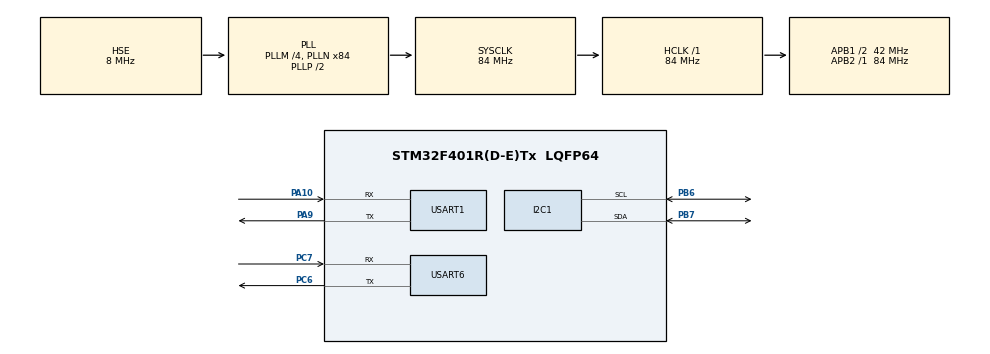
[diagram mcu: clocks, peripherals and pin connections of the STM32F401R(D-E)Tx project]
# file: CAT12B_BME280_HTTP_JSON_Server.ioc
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Mcu.Family=STM32F4
Mcu.Name=STM32F401R(D-E)Tx
Mcu.Package=LQFP64
NVIC.PriorityGroup=NVIC_PRIORITYGROUP_4
NVIC.USART1_IRQn=true\:0\:0\:false\:false\:true\:true\:true\:true
PA10.Mode=Asynchronous
PA10.Signal=USART1_RX
PA13.Mode=Serial_Wire
PA13.Signal=SYS_JTMS-SWDIO
PA14.Mode=Serial_Wire
PA14.Signal=SYS_JTCK-SWCLK
PA9.Mode=Asynchronous
PA9.Signal=USART1_TX
PB6.Mode=I2C
PB6.Signal=I2C1_SCL
PB7.Mode=I2C
PB7.Signal=I2C1_SDA
PC6.Mode=Asynchronous
PC6.Signal=USART6_TX
PC7.Mode=Asynchronous
PC7.Signal=USART6_RX
PH0\ -\ OSC_IN.Mode=HSE-External-Clock-Source
PH0\ -\ OSC_IN.Signal=RCC_OSC_IN
PH1\ -\ OSC_OUT.Mode=HSE-External-Clock-Source
PH1\ -\ OSC_OUT.Signal=RCC_OSC_OUT
ProjectManager.HeapSize=0x200
ProjectManager.StackSize=0x400
ProjectManager.TargetToolchain=STM32CubeIDE
RCC.48MHZClocksFreq_Value=42000000
RCC.AHBFreq_Value=84000000
RCC.APB1CLKDivider=RCC_HCLK_DIV2
RCC.APB1Freq_Value=42000000
RCC.APB1TimFreq_Value=84000000
RCC.APB2Freq_Value=84000000
RCC.APB2TimFreq_Value=84000000
RCC.CortexFreq_Value=84000000
RCC.HCLKFreq_Value=84000000
RCC.HSE_VALUE=8000000
RCC.HSI_VALUE=16000000
RCC.LSE_VALUE=32768
RCC.PLLM=4
RCC.PLLN=84
RCC.PLLSourceVirtual=RCC_PLLSOURCE_HSE
RCC.SYSCLKFreq_VALUE=84000000
RCC.SYSCLKSource=RCC_SYSCLKSOURCE_PLLCLK
RCC.VCOOutputFreq_Value=168000000
USART1.VirtualMode=VM_ASYNC
USART6.VirtualMode=VM_ASYNC
board=custom

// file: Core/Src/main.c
/* USER CODE BEGIN Header */
/**
  ******************************************************************************
  * @file           : main.c
  * @brief          : CAT 12 - Raw HTTP response with BME280 data (JSON)
  *                    STM32 builds {"status","temperature","humidity","pressure"} and serves it through the ESP8266.
  ******************************************************************************
  * @attention
  *
  * Copyright (c) 2026 STMicroelectronics.
  * All rights reserved.
  *
  * This software is licensed under terms that can be found in the LICENSE file
  * in the root directory of this software component.
  * If no LICENSE file comes with this software, it is provided AS-IS.
  *
  ******************************************************************************
  */
/* USER CODE END Header */
#include "main.h"

/* USER CODE BEGIN Includes */
#include "bme280.h"
#include "esp_at.h"
#include "wifi_config.h"
#include "fmt_fixed.h"
#include <stdio.h>
#include <string.h>
/* USER CODE END Includes */

/* USER CODE BEGIN PTD */
typedef struct
{
  uint8_t pending;
  char    path[48];
} http_request_t;
/* USER CODE END PTD */

/* USER CODE BEGIN PD */
#define DBG_UART          (&huart6)   /* USART6: PC6 TX, PC7 RX -> USB-TTL -> PuTTY 115200 */
/* BME280 on I2C1: PB6 = SCL, PB7 = SDA, VCC = 3.3 V, SDO = GND -> address 0x76 */

/* ESP8266 (Wemos D1 mini, AT firmware) on USART1: PA9 TX -> Wemos RX, PA10 RX <- Wemos TX */
#define MAX_LINKS          5U
#define HTTP_PORT          80U
#define SENSOR_PERIOD_MS   2000U
/* USER CODE END PD */

I2C_HandleTypeDef hi2c1;
UART_HandleTypeDef huart1;
UART_HandleTypeDef huart6;

/* USER CODE BEGIN PV */
static struct bme280_dev      bme;
static struct bme280_settings bme_cfg;
static struct bme280_data     bme_data;
static uint8_t                bme_addr = BME280_I2C_ADDR_PRIM;   /* 0x76 */

/* compensated results - add these to Live Expressions while debugging */
float temperature = 0.0f;    /* deg C */
float pressure    = 0.0f;    /* hPa   */
float humidity    = 0.0f;    /* %RH   */
int8_t bme_status = BME280_OK;
static http_request_t    requests[MAX_LINKS];
static volatile uint8_t  wifi_lost = 0;
static uint32_t          last_read_ms = 0;
static uint32_t          requests_served = 0;
static uint8_t           sensor_ok = 0;
static char              ip_addr[20] = "0.0.0.0";
/* USER CODE END PV */

void SystemClock_Config(void);
static void MX_GPIO_Init(void);
static void MX_I2C1_Init(void);
static void MX_USART1_UART_Init(void);
static void MX_USART6_UART_Init(void);
/* USER CODE BEGIN PFP */
int8_t user_i2c_read(uint8_t reg_addr, uint8_t *reg_data, uint32_t len, void *intf_ptr);
int8_t user_i2c_write(uint8_t reg_addr, const uint8_t *reg_data, uint32_t len, void *intf_ptr);
void   user_delay_us(uint32_t period, void *intf_ptr);
/* USER CODE END PFP */

/* USER CODE BEGIN 0 */
static void dbg(const char *s)
{
  HAL_UART_Transmit(DBG_UART, (uint8_t *)s, (uint16_t)strlen(s), 200);
}

/* Connect the Bosch API to our I2C functions, check the chip and configure it */
static int8_t bme_setup(uint8_t osr, uint8_t filter, uint8_t standby)
{
  int8_t r;

  bme.intf_ptr = &bme_addr;
  bme.intf     = BME280_I2C_INTF;
  bme.read     = user_i2c_read;
  bme.write    = user_i2c_write;
  bme.delay_us = user_delay_us;

  r = bme280_init(&bme);                 /* reads chip ID 0x60, soft reset, trim data */
  if (r != BME280_OK)
    return r;

  r = bme280_get_sensor_settings(&bme_cfg, &bme);   /* start from the current settings */
  if (r != BME280_OK)
    return r;
  bme_cfg.osr_t        = osr;            /* temperature oversampling */
  bme_cfg.osr_p        = osr;            /* pressure oversampling    */
  bme_cfg.osr_h        = osr;            /* humidity oversampling    */
  bme_cfg.filter       = filter;         /* IIR filter coefficient   */
  bme_cfg.standby_time = standby;        /* time between conversions in normal mode */
  r = bme280_set_sensor_settings(BME280_SEL_ALL_SETTINGS, &bme_cfg, &bme);
  if (r != BME280_OK)
    return r;

  return bme280_set_sensor_mode(BME280_POWERMODE_NORMAL, &bme);   /* continuous */
}

/* Read compensated values; returns 1 on success */
static int bme_read(void)
{
  bme_status = bme280_get_sensor_data(BME280_ALL, &bme_data, &bme);
  if (bme_status != BME280_OK)
    return 0;
  temperature = (float)bme_data.temperature;
  pressure    = (float)(bme_data.pressure / 100.0);   /* Pa -> hPa */
  humidity    = (float)bme_data.humidity;
  return 1;
}

static void print_readings(void)
{
  char t[12], p[12], h[12], line[48];
  fmt_2dp(t, sizeof(t), temperature);
  fmt_2dp(p, sizeof(p), pressure);
  fmt_2dp(h, sizeof(h), humidity);
  snprintf(line, sizeof(line), "Temperature : %s \xC2\xB0" "C\r\n", t);  dbg(line);
  snprintf(line, sizeof(line), "Pressure    : %s hPa\r\n", p);           dbg(line);
  snprintf(line, sizeof(line), "Humidity    : %s %%RH\r\n", h);          dbg(line);
}

/* -------------------- ESP8266 glue -------------------- */
void HAL_UART_RxCpltCallback(UART_HandleTypeDef *huart)
{
  esp_at_rx_cplt_callback(huart);
}

void HAL_UART_ErrorCallback(UART_HandleTypeDef *huart)
{
  esp_at_error_callback(huart);
}

/* "+IPD,<link>,<len>:GET /path HTTP/1.1" -> store the request for the main loop */
static void on_esp_event(const char *line)
{
  if (strncmp(line, "+IPD,", 5) == 0)
  {
    uint8_t link = (uint8_t)(line[5] - '0');
    const char *get = strstr(line, ":GET ");
    if (link < MAX_LINKS && get != NULL)
    {
      const char *src = get + 5;
      uint8_t n = 0;
      while (*src && *src != ' ' && n < sizeof(requests[link].path) - 1U)
        requests[link].path[n++] = *src++;
      if (*src && *src != ' ')
        n = 0;                     /* path longer than the buffer: never serve a truncated URL */
      requests[link].path[n] = '\0';
      requests[link].pending = 1;
    }
  }
  else if (strstr(line, ",CLOSED") != NULL)
  {
    uint8_t link = (uint8_t)(line[0] - '0');
    if (link < MAX_LINKS)
      requests[link].pending = 0;
  }
  else if (strcmp(line, "WIFI DISCONNECT") == 0)
  {
    wifi_lost = 1;
  }
}

/* -------------------- HTTP -------------------- */
static void build_json(char *json, size_t size)
{
  char t[12], h[12], p[12];
  if (!sensor_ok)
  {
    snprintf(json, size, "{\"status\":\"error\",\"message\":\"sensor read failed\"}");
    return;
  }
  fmt_2dp(t, sizeof(t), temperature);
  fmt_2dp(h, sizeof(h), humidity);
  fmt_2dp(p, sizeof(p), pressure);
  snprintf(json, size,
           "{\"status\":\"success\",\"temperature\":%s,\"humidity\":%s,\"pressure\":%s}",
           t, h, p);
}

static void http_reply(uint8_t link, const char *status, const char *json)
{
  static char resp[384];
  int content_length = (int)strlen(json);            /* from the ACTUAL JSON string */
  int len = snprintf(resp, sizeof(resp),
                     "HTTP/1.1 %s\r\n"
                     "Content-Type: application/json\r\n"
                     "Content-Length: %d\r\n"
                     "Access-Control-Allow-Origin: *\r\n"
                     "Connection: close\r\n"
                     "\r\n"
                     "%s",
                     status, content_length, json);
  if (len >= (int)sizeof(resp))
    len = sizeof(resp) - 1;
  if (!esp_at_send(link, resp, (uint16_t)len))
    dbg("[HTTP] send failed (link closed or ESP busy)\r\n");
  esp_at_close(link);
}

static void handle_request(uint8_t link, const char *path)
{
  if (path[0] == '\0')                           /* empty = URL was too long */
  {
    http_reply(link, "414 URI Too Long", "{\"status\":\"error\",\"message\":\"URI too long\"}");
    return;
  }
  char json[160];
  char msg[80];

  snprintf(msg, sizeof(msg), "[HTTP] link %u GET %s\r\n", link, path);
  dbg(msg);

  if (strcmp(path, "/") == 0 || strcmp(path, "/api/bme280") == 0)
  {
    build_json(json, sizeof(json));
    http_reply(link, "200 OK", json);
    requests_served++;
  }
  else
  {
    http_reply(link, "404 Not Found", "{\"status\":\"error\",\"message\":\"not found\"}");
  }
}

static void server_start(void)
{
  char msg[64];
  esp_at_get_ip(ip_addr, sizeof(ip_addr));
  if (esp_at_start_server(HTTP_PORT) == ESP_OK)
  {
    snprintf(msg, sizeof(msg), "Open http://%s/ in a browser / Node-RED\r\n", ip_addr);
    dbg(msg);
  }
  else
  {
    dbg("AT+CIPSERVER failed\r\n");
  }
}
/* USER CODE END 0 */

int main(void)
{

  /* MCU Configuration--------------------------------------------------------*/

  /* Reset of all peripherals, Initializes the Flash interface and the Systick. */
  HAL_Init();

  /* Configure the system clock */
  SystemClock_Config();

  /* Initialize all configured peripherals */
  MX_GPIO_Init();
  MX_I2C1_Init();
  MX_USART1_UART_Init();
  MX_USART6_UART_Init();
  /* USER CODE BEGIN 2 */
  char line[ESP_LINE_MAX];

  dbg("\r\nCAT12B - BME280 + ESP8266 HTTP JSON server\r\n");

  /* 1. Sensor */
  bme_status = bme_setup(BME280_OVERSAMPLING_2X, BME280_FILTER_COEFF_OFF, BME280_STANDBY_TIME_62_5_MS);
  if (bme_status != BME280_OK)
  {
    dbg("BME280 init failed (chip ID / wiring)\r\n");
    Error_Handler();
  }
  HAL_Delay(100);
  sensor_ok = (uint8_t)bme_read();
  print_readings();

  /* 2. Wi-Fi + server */
  esp_at_init(&huart1, on_esp_event);
  if (esp_at_startup() != ESP_OK)
  {
    dbg("ESP8266 not responding\r\n");
    Error_Handler();
  }
  dbg("Joining " WIFI_SSID " ...\r\n");
  if (esp_at_join_ap(WIFI_SSID, WIFI_PASSWORD) != ESP_OK)
  {
    dbg("Wi-Fi join failed - edit Core/Inc/wifi_config.h\r\n");
    Error_Handler();
  }
  dbg("Wi-Fi connected\r\n");
  server_start();
  last_read_ms = HAL_GetTick();
  /* USER CODE END 2 */

  /* Infinite loop */
  while (1)
  {

    /* USER CODE BEGIN 3 */
    /* ESP events (requests are collected by on_esp_event) */
    while (esp_at_read_line(line, sizeof(line), 0) >= 0) { }

    for (uint8_t link = 0; link < MAX_LINKS; link++)
    {
      if (requests[link].pending)
      {
        requests[link].pending = 0;
        handle_request(link, requests[link].path);
      }
    }

    /* fresh sensor data every 2 s, without blocking the server */
    if ((HAL_GetTick() - last_read_ms) >= SENSOR_PERIOD_MS)
    {
      last_read_ms = HAL_GetTick();
      sensor_ok = (uint8_t)bme_read();
      dbg("\r\n");
      print_readings();
    }

    if (wifi_lost)
    {
      dbg("Wi-Fi lost - waiting for the ESP8266 to reconnect...\r\n");
      do
      {
        HAL_Delay(2000);
      } while (esp_at_cmd("AT+CIPSTATUS", line, sizeof(line), 2000) != ESP_OK || strstr(line, "STATUS:5") != NULL);
      wifi_lost = 0;
      server_start();
    }
  }
  /* USER CODE END 3 */
}

void SystemClock_Config(void)
{
  RCC_OscInitTypeDef RCC_OscInitStruct = {0};
  RCC_ClkInitTypeDef RCC_ClkInitStruct = {0};

  /** Configure the main internal regulator output voltage
  */
  __HAL_RCC_PWR_CLK_ENABLE();
  __HAL_PWR_VOLTAGESCALING_CONFIG(PWR_REGULATOR_VOLTAGE_SCALE2);

  /** Initializes the RCC Oscillators according to the specified parameters
  * in the RCC_OscInitTypeDef structure.
  */
  RCC_OscInitStruct.OscillatorType = RCC_OSCILLATORTYPE_HSE;
  RCC_OscInitStruct.HSEState = RCC_HSE_BYPASS;
  RCC_OscInitStruct.PLL.PLLState = RCC_PLL_ON;
  RCC_OscInitStruct.PLL.PLLSource = RCC_PLLSOURCE_HSE;
  RCC_OscInitStruct.PLL.PLLM = 4;
  RCC_OscInitStruct.PLL.PLLN = 84;
  RCC_OscInitStruct.PLL.PLLP = RCC_PLLP_DIV2;
  RCC_OscInitStruct.PLL.PLLQ = 4;
  if (HAL_RCC_OscConfig(&RCC_OscInitStruct) != HAL_OK)
  {
    Error_Handler();
  }

  /** Initializes the CPU, AHB and APB buses clocks
  */
  RCC_ClkInitStruct.ClockType = RCC_CLOCKTYPE_HCLK|RCC_CLOCKTYPE_SYSCLK
                              |RCC_CLOCKTYPE_PCLK1|RCC_CLOCKTYPE_PCLK2;
  RCC_ClkInitStruct.SYSCLKSource = RCC_SYSCLKSOURCE_PLLCLK;
  RCC_ClkInitStruct.AHBCLKDivider = RCC_SYSCLK_DIV1;
  RCC_ClkInitStruct.APB1CLKDivider = RCC_HCLK_DIV2;
  RCC_ClkInitStruct.APB2CLKDivider = RCC_HCLK_DIV1;

  if (HAL_RCC_ClockConfig(&RCC_ClkInitStruct, FLASH_LATENCY_2) != HAL_OK)
  {
    Error_Handler();
  }
}

static void MX_I2C1_Init(void)
{

  hi2c1.Instance = I2C1;
  hi2c1.Init.ClockSpeed = 100000;
  hi2c1.Init.DutyCycle = I2C_DUTYCYCLE_2;
  hi2c1.Init.OwnAddress1 = 0;
  hi2c1.Init.AddressingMode = I2C_ADDRESSINGMODE_7BIT;
  hi2c1.Init.DualAddressMode = I2C_DUALADDRESS_DISABLE;
  hi2c1.Init.OwnAddress2 = 0;
  hi2c1.Init.GeneralCallMode = I2C_GENERALCALL_DISABLE;
  hi2c1.Init.NoStretchMode = I2C_NOSTRETCH_DISABLE;
  if (HAL_I2C_Init(&hi2c1) != HAL_OK)
  {
    Error_Handler();
  }

}

static void MX_USART1_UART_Init(void)
{

  huart1.Instance = USART1;
  huart1.Init.BaudRate = 115200;
  huart1.Init.WordLength = UART_WORDLENGTH_8B;
  huart1.Init.StopBits = UART_STOPBITS_1;
  huart1.Init.Parity = UART_PARITY_NONE;
  huart1.Init.Mode = UART_MODE_TX_RX;
  huart1.Init.HwFlowCtl = UART_HWCONTROL_NONE;
  huart1.Init.OverSampling = UART_OVERSAMPLING_16;
  if (HAL_UART_Init(&huart1) != HAL_OK)
  {
    Error_Handler();
  }

}

static void MX_USART6_UART_Init(void)
{

  huart6.Instance = USART6;
  huart6.Init.BaudRate = 115200;
  huart6.Init.WordLength = UART_WORDLENGTH_8B;
  huart6.Init.StopBits = UART_STOPBITS_1;
  huart6.Init.Parity = UART_PARITY_NONE;
  huart6.Init.Mode = UART_MODE_TX_RX;
  huart6.Init.HwFlowCtl = UART_HWCONTROL_NONE;
  huart6.Init.OverSampling = UART_OVERSAMPLING_16;
  if (HAL_UART_Init(&huart6) != HAL_OK)
  {
    Error_Handler();
  }

}

static void MX_GPIO_Init(void)
{

  /* GPIO Ports Clock Enable */
  __HAL_RCC_GPIOH_CLK_ENABLE();
  __HAL_RCC_GPIOC_CLK_ENABLE();
  __HAL_RCC_GPIOA_CLK_ENABLE();
  __HAL_RCC_GPIOB_CLK_ENABLE();

}

/* USER CODE BEGIN 4 */
/* ---------------------------------------------------------------------------
 * Hardware abstraction for the Bosch BME280 Sensor API.
 * The Bosch driver never touches the hardware itself: it calls these three
 * functions through the bme280_dev structure.
 * ------------------------------------------------------------------------- */

/* read_register(): burst-read 'len' bytes starting at 'reg_addr' */
int8_t user_i2c_read(uint8_t reg_addr, uint8_t *reg_data, uint32_t len, void *intf_ptr)
{
  uint8_t addr7 = *(uint8_t *)intf_ptr;
  /* HAL wants the 8-bit (shifted) address */
  if (HAL_I2C_Mem_Read(&hi2c1, (uint16_t)(addr7 << 1), reg_addr, I2C_MEMADD_SIZE_8BIT,
                       reg_data, (uint16_t)len, 100) != HAL_OK)
    return BME280_E_COMM_FAIL;
  return BME280_OK;
}

/* write_register(): write 'len' bytes starting at 'reg_addr' */
int8_t user_i2c_write(uint8_t reg_addr, const uint8_t *reg_data, uint32_t len, void *intf_ptr)
{
  uint8_t addr7 = *(uint8_t *)intf_ptr;
  if (HAL_I2C_Mem_Write(&hi2c1, (uint16_t)(addr7 << 1), reg_addr, I2C_MEMADD_SIZE_8BIT,
                        (uint8_t *)reg_data, (uint16_t)len, 100) != HAL_OK)
    return BME280_E_COMM_FAIL;
  return BME280_OK;
}

/* delay_function(): the API asks for microseconds.
 * >= 1 ms : HAL_Delay (SysTick, waits at least the requested time)
 *  < 1 ms : busy-wait on the Cortex-M4 DWT cycle counter. Cycles per us are
 *           taken from SystemCoreClock (84 at the 84 MHz used here). */
void user_delay_us(uint32_t period, void *intf_ptr)
{
  (void)intf_ptr;
  if (period >= 1000U)
  {
    HAL_Delay((period + 999U) / 1000U);
    return;
  }
  if ((DWT->CTRL & DWT_CTRL_CYCCNTENA_Msk) == 0U)        /* enable the cycle counter once */
  {
    CoreDebug->DEMCR |= CoreDebug_DEMCR_TRCENA_Msk;
    DWT->CYCCNT = 0;
    DWT->CTRL |= DWT_CTRL_CYCCNTENA_Msk;
  }
  uint32_t start = DWT->CYCCNT;
  uint32_t ticks = period * (SystemCoreClock / 1000000U);
  while ((DWT->CYCCNT - start) < ticks)                  /* unsigned maths: wrap-safe */
  {
  }
}
/* USER CODE END 4 */

void Error_Handler(void)
{
  __disable_irq();
  while (1)
  {
  }
}
